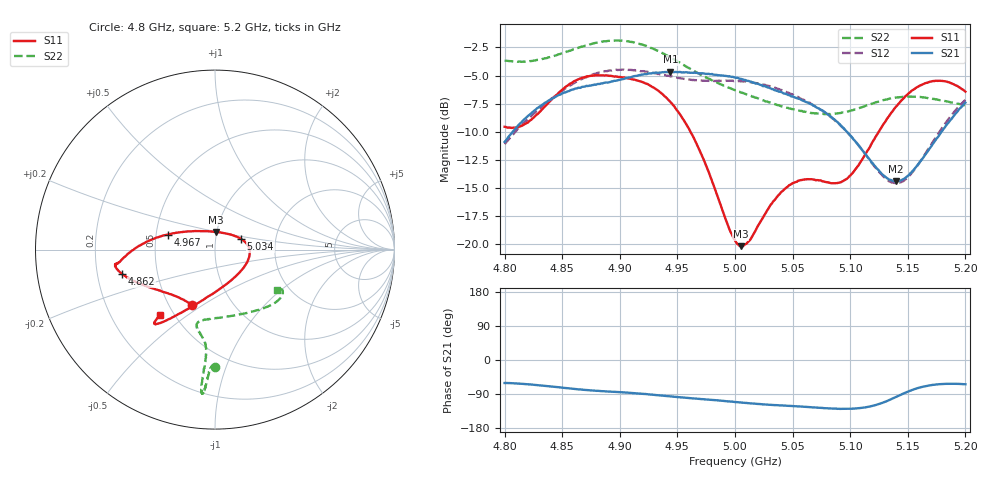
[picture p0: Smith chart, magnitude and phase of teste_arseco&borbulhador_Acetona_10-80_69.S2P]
! Network Analyzer HP8722D
! Hewlett-Packard
! Data name: Linha & Wilkinson
! Saver's name: Rodrigo Anjos
! Comments: Teste da utilização de aquisição
! continua pelo VNA HP8722D
! Time and date: 17/4/2025 14:56
!  Frequency  S11  S21  S12  S22
# HZ  S  MA R 50
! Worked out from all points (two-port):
!   401 points, 4.8 GHz to 5.2 GHz, reference 50 ohm
!   highest |S21| = -4.66 dB at 4.944 GHz (marker M1); lowest = -14.4 dB at 5.14 GHz (marker M2)
!   |S21| within 3 dB of the highest: 4.832 GHz to 5.068 GHz (236 MHz wide, 4.77 % of centre); 5.197762 GHz to end of sweep
!   lowest |S11| = -20.2 dB at 5.005 GHz (marker M3), VSWR 1.22, Z = 49.7 + j9.83 ohm
!   |S11| at or under -10 dB: 4.961 GHz to 5.125 GHz (163.4 MHz wide, 3.24 % of centre)
!   |S22| runs from -8.4 to -1.9 dB; largest |S21 - S12| = 0.88
!   S11 on the Smith chart (normalised r, x): 4.8 GHz: 0.65, -0.45; 4.862 GHz: 0.31, -0.12; 4.967 GHz: 0.58, +0.10; 5.034 GHz: 1.33, +0.16; 5.2 GHz: 0.42, -0.40
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4.8e9  0.333 -112.9  0.285 -60.7  0.2789 -174.9  0.6557 -89.8
4.819e9  0.3455 -132.8  0.3666 -63.8  0.3547 -173.3  0.6503 -91.4
4.862e9  0.5351 -165.2  0.4926 -76.7  0.5272 -176.4  0.7417 -93.7
4.867e9  0.5476 -167.2  0.5004 -78.3  0.5422 -177.4  0.7556 -93.9
4.9e9  0.5547 -171.9  0.5379 -84.9  0.5959 175.9  0.8034 -95.1
4.934e9  0.4792 -177.8  0.579 -93.4  0.5725 172.2  0.7184 -95.5
4.944e9  0.4287 177.7  0.5846 -96.1  0.5568 172.0  0.6769 -95.2
4.967e9  0.2771 162.4  0.5784 -101.9  0.5353 174.1  0.5786 -94.9
5e9  0.1042 103.6  0.5504 -111.0  0.5324 176.4  0.4842 -99.0
5.005e9  0.09823 86.4  0.5439 -112.3  0.5291 176.3  0.4723 -100.1
5.013e9  0.1045 61.1  0.5286 -114.4  0.5251 176.1  0.4579 -101.8
5.034e9  0.1569 22.5  0.4848 -119.0  0.4982 175.0  0.421 -103.6
5.049e9  0.1853 6.9  0.4537 -121.4  0.4652 174.5  0.3996 -100.2
5.067e9  0.1947 -12.2  0.4176 -124.8  0.4182 173.7  0.3831 -91.0
5.087e9  0.1871 -44.2  0.356 -128.5  0.3534 173.6  0.381 -76.0
5.098e9  0.1974 -67.0  0.3131 -128.8  0.3126 174.6  0.3892 -66.8
5.134e9  0.3732 -115.7  0.194 -105.6  0.1902 -158.6  0.4435 -43.0
5.14e9  0.4103 -119.3  0.1906 -97.2  0.1881 -148.9  0.4487 -40.3
5.152e9  0.4739 -124.2  0.2064 -81.1  0.2033 -130.4  0.4531 -35.9
5.17e9  0.5287 -128.3  0.2709 -66.4  0.2761 -112.6  0.4448 -31.8
5.184e9  0.5273 -129.7  0.342 -62.9  0.3531 -107.1  0.4312 -30.8
5.2e9  0.4769 -130.1  0.4261 -64.1  0.4382 -106.1  0.4149 -33.1
